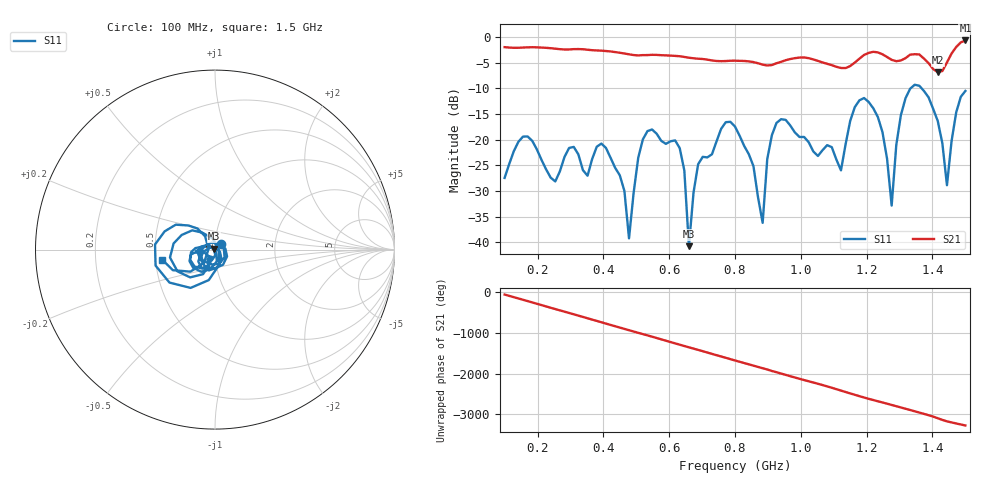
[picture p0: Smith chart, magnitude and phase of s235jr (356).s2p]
! NanoVNA-App
! Date: 2025-09-25 15:06:56
! Start: 100MHz Stop: 1,5GHz Points: 101
! S-Parameter data: F S11 S21 S12 S22
# Hz S RI R 50
!  Frequency  S11_Real  S11_Imag  S21_Real  S21_Imag  S12_Real  S12_Imag  S22_Real  S22_Imag
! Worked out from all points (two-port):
!   101 points, 100 MHz to 1.5 GHz, reference 50 ohm
!   highest |S21| = -0.66 dB at 1.5 GHz (marker M1); lowest = -6.8 dB at 1.416 GHz (marker M2)
!   |S21| within 3 dB of the highest: start of sweep to 615.6 MHz; 1.189 GHz to 1.256 GHz (67.21 MHz wide, 5.5 % of centre)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
!   lowest |S11| = -40.8 dB at 660 MHz (marker M3), VSWR 1.02, Z = 49.3 + j0.547 ohm
!   |S11| at or under -10 dB: start of sweep to 1.333 GHz; 1.367 GHz to end of sweep
!   S12 and S22 are empty: the file has one direction only
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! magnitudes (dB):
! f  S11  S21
! 100 MHz  -27.5  -2.0
! 156 MHz  -19.4  -2.0
! 338 MHz  -26.0  -2.4
! 408 MHz  -21.6  -2.7
! 478 MHz  -39.3  -3.4
! 520 MHz  -20.0  -3.5
! 576 MHz  -20.2  -3.5
! 632 MHz  -21.6  -3.7
! 660 MHz  -40.8  -4.0
! 688 MHz  -24.8  -4.2
! 800 MHz  -17.5  -4.6
! 884 MHz  -36.2  -5.4
! 926 MHz  -16.7  -5.1
! 1.038 GHz  -22.3  -4.4
! 1.122 GHz  -26.0  -6.0
! 1.192 GHz  -11.9  -3.5
! 1.248 GHz  -18.5  -3.4
! 1.276 GHz  -32.9  -4.4
! 1.332 GHz  -10.1  -3.4
! 1.416 GHz  -16.4  -6.8
! 1.444 GHz  -28.9  -4.9
! 1.5 GHz  -10.5  -0.7
